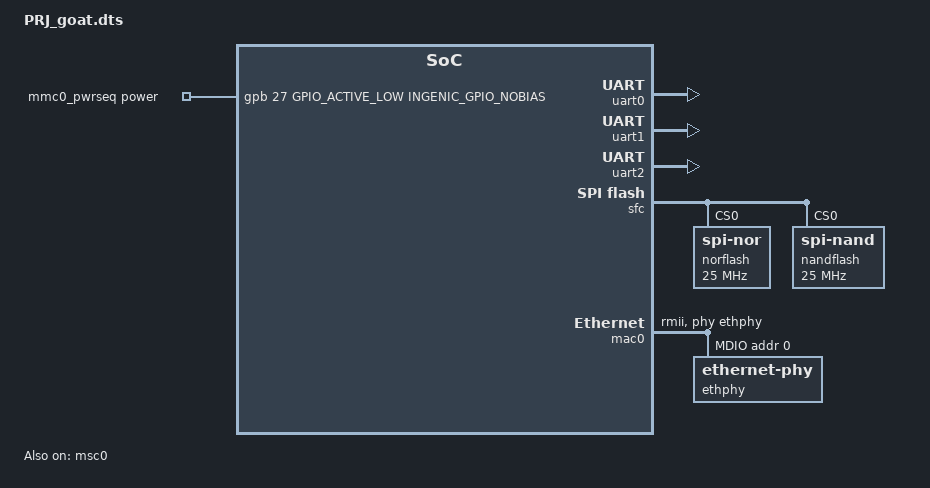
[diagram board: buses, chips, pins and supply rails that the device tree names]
/dts-v1/;

#include "PRJ.dtsi"

/ {
	compatible = "ingenic,isvp", "ingenic,PRJ";

mmc0_pwrseq: mmc0_pwrseq {
		compatible = "mmc-pwrseq-sd";
		power-gpios = <&gpb 27 GPIO_ACTIVE_LOW INGENIC_GPIO_NOBIAS>;
		};
};

&uart0 {
	status = "okay";
	pinctrl-names = "default";
	pinctrl-0 = <&uart0_pb>;
};

&uart1 {
	status = "okay";
	pinctrl-names = "default";
	pinctrl-0 = <&uart1_pb>;
};

&uart2 {
	status = "okay";
	pinctrl-names = "default";
	pinctrl-0 = <&uart2_pc>;
};

&msc0 {
	status = "okay";
	pinctrl-names = "default", "active";
	pinctrl-0 = <&msc0_pb_lolvl>;
	pinctrl-1 = <&msc0_pb_func0>;
	cap-mmc-highspeed;
	non-removable;
	max-frequency = <25000000>;
	bus-width = <4>;
	voltage-ranges = <1800 3300>;

	/* special property */
	wp-gpios = <0>;
	cd-gpios = <0>;
	rst-gpios = <0>;
	mmc-pwrseq = <&mmc0_pwrseq>;

};

&msc1 {
	status = "disable";
	pinctrl-names = "default";
	pinctrl-0 = <&msc1_pc>;
	cap-mmc-highspeed;
	non-removable;
	max-frequency = <25000000>;
	bus-width = <4>;
	voltage-ranges = <1800 3300>;

	/* special property */
	ingenic,wp-gpios = <0>;
	ingenic,cd-gpios = <0>;
	ingenic,rst-gpios = <0>;
};

&sfc {
	status = "okay";
	pinctrl-names = "default";
	pinctrl-0 = <&sfc0_pa>;
	ingenic,use_ofpart_info  = /bits/ 8 <0>; /* 当=<1>时(启用): 从设备树(Device Tree)中的 partitions 节点读取分区表信息 */
	ingenic,spiflash_param_offset = <0>;

	norflash@0 {
		compatible = "jedec,spi-nor";
		reg = <0>;
		spi-max-frequency = <25000000>;
		spi-tx-bus-width = <4>;
		spi-rx-bus-width = <4>;
	};

	nandflash@0 {
		compatible = "spi-nand";
		reg = <0>;
		spi-max-frequency = <25000000>;
		spi-tx-bus-width = <1>;
		spi-rx-bus-width = <1>;
	};

};

&mac0 {
	pinctrl-names = "default", "reset";
	pinctrl-0 = <&mac0_rmii_p0_normal>, <&mac0_rmii_p1_normal>;
	pinctrl-1 = <&mac0_rmii_p0_rst>, <&mac0_rmii_p1_normal>;
	status = "okay";
	ingenic,reset-gpio = <&gpb 26 GPIO_ACTIVE_LOW INGENIC_GPIO_NOBIAS>;
	phy-handle = <&ethphy>;
	phy-mode = "rmii";
	max-speed = <100>;
	macphy-rate = <25000000>;

	mdio {
		compatible = "snps,dwmac-mdio";
		#address-cells = <1>;
		#size-cells = <0>;

		ethphy: ethernet-phy@0 {
			reg= <0>;
		};
	};

};

&extclk {
	clock-frequency = <24000000>;
};

&gpa {
	ingenic,gpio-sleep-pullup 	= <>;
	ingenic,gpio-sleep-pulldown 	= <>;
	ingenic,gpio-sleep-hiz		= <26>;
	ingenic,gpio-sleep-low		= <>;
	ingenic,gpio-sleep-high		= <>;
};

&gpb {
	ingenic,gpio-sleep-pullup 	= <>;
	ingenic,gpio-sleep-pulldown 	= <>;
	ingenic,gpio-sleep-hiz		= <14>;
	ingenic,gpio-sleep-low		= <>;
	ingenic,gpio-sleep-high		= <>;
};

&gpc {
	ingenic,gpio-sleep-pullup 	= <>;
	ingenic,gpio-sleep-pulldown 	= <>;
	ingenic,gpio-sleep-hiz		= <>;
	ingenic,gpio-sleep-low		= <>;
	ingenic,gpio-sleep-high		= <>;
};
